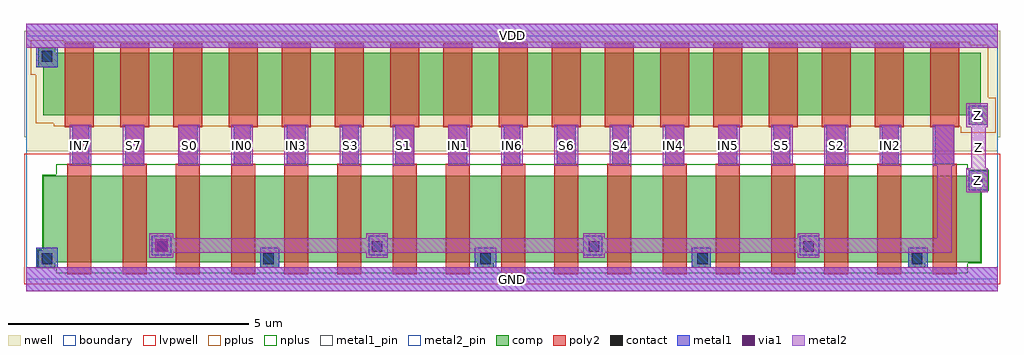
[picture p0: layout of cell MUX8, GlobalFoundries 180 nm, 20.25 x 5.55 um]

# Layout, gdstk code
import gdstk
lib = gdstk.Library(unit=1e-6, precision=1e-09)
def R(c, l, rs):  # rectangles x0, y0, x1, y1
    for r in rs: c.add(gdstk.rectangle(r[:2], r[2:], *l))
def A(c, l, x, y, w, h, nx, ny, dx, dy):  # array of equal rectangles
    R(c, l, [(x+i*dx, y+j*dy, x+i*dx+w, y+j*dy+h) for i in range(nx) for j in range(ny)])
boundary = (0, 0)
nwell = (21, 0)
comp = (22, 0)
poly2 = (30, 0)
pplus = (31, 0)
nplus = (32, 0)
contact = (33, 0)
metal1 = (34, 0)
metal1_pin = (34, 10)
via1 = (35, 0)
metal2 = (36, 0)
metal2_pin = (36, 10)
lvpwell = (204, 0)

mux8 = lib.new_cell('MUX8')
R(mux8, boundary, [(0,0,20.15,5.05)])
R(mux8, nwell, [(0,2.65,20.15,2.95), (-0.05,2.95,20.2,5.15)])
R(mux8, comp, [(0.25,0.25,0.6,0.35), (4.85,0.25,5.25,0.35), (9.35,0.25,9.7,0.35), (13.8,0.25,14.2,0.35), (18.3,0.25,18.65,0.35), (0.25,0.35,19.8,0.6), (0.35,0.6,19.8,1.85), (0.35,1.85,19.95,2.15), (19.55,2.15,19.95,2.25), (19.55,3.2,19.95,3.4), (0.35,3.4,19.95,3.6), (0.35,3.6,19.8,4.4), (0.25,4.4,19.8,4.7), (0.25,4.7,0.6,4.8)])
A(mux8, poly2, 4.25, 0.1, 0.5, 2.3, 3, 1, 1.1, 0)
A(mux8, poly2, 9.85, 0.1, 0.5, 2.3, 3, 1, 1.1, 0)
A(mux8, poly2, 15.45, 0.1, 0.5, 2.3, 3, 1, 1.1, 0)
A(mux8, poly2, 3.15, 2.4, 0.4, 0.75, 3, 1, 2.25, 0)
A(mux8, poly2, 8.75, 2.4, 0.4, 0.75, 3, 1, 2.25, 0)
A(mux8, poly2, 14.35, 2.4, 0.4, 0.75, 3, 1, 2.25, 0)
A(mux8, poly2, 4.2, 3.15, 0.6, 1.75, 3, 1, 1.1, 0)
A(mux8, poly2, 9.8, 3.15, 0.6, 1.75, 3, 1, 1.1, 0)
A(mux8, poly2, 15.4, 3.15, 0.6, 1.75, 3, 1, 1.1, 0)
R(mux8, poly2, [(0.85,0.1,1.35,2.4), (2,0.1,2.5,2.4), (3.1,0.1,3.6,2.4), (7.6,0.1,8.1,2.4), (8.7,0.1,9.2,2.4), (13.2,0.1,13.7,2.4), (14.3,0.1,14.8,2.4), (18.8,0.1,19.3,2.4), (0.95,2.4,1.3,3.15), (2.05,2.4,2.45,3.15), (4.3,2.4,4.65,3.15), (6.55,2.4,6.9,3.15), (9.9,2.4,10.25,3.15), (12.15,2.4,12.5,3.15), (15.5,2.4,15.85,3.15), (17.75,2.4,18.1,3.15), (0.8,3.15,1.4,4.9), (1.95,3.15,2.55,4.9), (3.05,3.15,3.65,4.9), (7.55,3.15,8.15,4.9), (8.65,3.15,9.25,4.9), (13.15,3.15,13.75,4.9), (14.25,3.15,14.85,4.9), (18.75,3.15,19.35,4.9)])
R(mux8, pplus, [(19.39,3.04,20.11,3.17), (0.57,3.17,20.11,3.24), (0.19,3.24,20.11,3.76), (0.19,3.76,19.96,4.24), (0.09,4.24,19.96,4.86), (0.09,4.86,19.58,4.93), (0.09,4.93,0.76,4.96)])
R(mux8, nplus, [(0.62,0.12,19.53,0.23), (0.23,0.23,19.53,0.33), (0.23,0.33,19.82,0.62), (0.33,0.62,19.82,1.83), (0.33,1.83,19.97,2.17), (0.62,2.17,19.97,2.27), (0.62,2.27,19.53,2.38)])
A(mux8, contact, 4.915, 0.315, 0.22, 0.22, 3, 1, 4.5, 0)
R(mux8, contact, [(0.315,0.315,0.535,0.535), (18.365,0.315,18.585,0.535), (2.715,0.565,2.935,0.785), (7.165,0.565,7.385,0.785), (11.665,0.565,11.885,0.785), (16.115,0.565,16.335,0.785), (19.615,1.915,19.835,2.135), (19.615,3.265,19.835,3.485), (0.315,4.515,0.535,4.735)])
A(mux8, metal1, 3.15, 2.4, 0.4, 0.8, 3, 1, 2.25, 0)
A(mux8, metal1, 8.75, 2.4, 0.4, 0.8, 3, 1, 2.25, 0)
A(mux8, metal1, 14.35, 2.4, 0.4, 0.8, 3, 1, 2.25, 0)
R(mux8, metal1, [(0,-0.25,20.15,0.25), (0.2,0.25,0.65,0.65), (4.85,0.25,5.25,0.65), (9.3,0.25,9.75,0.65), (13.8,0.25,14.2,0.65), (18.3,0.25,18.7,0.65), (2.6,0.5,3,0.9), (7.1,0.5,7.5,0.9), (11.55,0.5,11.95,0.9), (16.05,0.5,16.45,0.9), (19.55,1.85,19.95,2.25), (0.95,2.4,1.3,3.2), (2.05,2.4,2.45,3.2), (4.3,2.4,4.65,3.2), (6.55,2.4,6.9,3.2), (9.9,2.4,10.25,3.2), (12.15,2.4,12.5,3.2), (15.5,2.4,15.85,3.2), (17.75,2.4,18.1,3.2), (19.55,3.2,19.95,3.6), (0.2,4.4,0.65,4.8), (0,4.8,20.15,5.3)])
R(mux8, metal1_pin, [(0,-0.25,20.15,0.25), (0,4.8,20.15,5.3)])
R(mux8, via1, [(2.67,0.57,2.93,0.83)])
A(mux8, metal2, 5.35, 2.35, 0.5, 0.85, 3, 1, 5.6, 0)
R(mux8, metal2, [(0,-0.25,20.15,0.25), (2.55,0.45,3.05,0.55), (7.05,0.45,7.5,0.55), (11.55,0.45,12,0.55), (16,0.45,16.45,0.55), (2.55,0.55,19.2,0.85), (2.55,0.85,3.05,0.95), (7.05,0.85,7.5,0.95), (11.55,0.85,12,0.95), (16,0.85,16.45,0.95), (18.9,0.85,19.2,2.35), (19.5,1.8,19.95,2.3), (19.6,2.3,19.9,3.15), (0.9,2.35,1.35,3.2), (2,2.35,2.45,3.2), (3.15,2.35,3.6,3.2), (4.25,2.35,4.7,3.2), (6.5,2.35,6.95,3.2), (7.6,2.35,8.05,3.2), (8.75,2.35,9.2,3.2), (9.85,2.35,10.3,3.2), (12.1,2.35,12.55,3.2), (13.2,2.35,13.65,3.2), (14.35,2.35,14.8,3.2), (15.45,2.35,15.9,3.2), (17.7,2.35,18.15,3.2), (18.8,2.35,19.25,3.2), (19.5,3.15,19.95,3.65), (0,4.8,20.15,5.3)])
A(mux8, metal2_pin, 5.35, 2.35, 0.5, 0.85, 3, 1, 5.6, 0)
R(mux8, metal2_pin, [(19.5,1.8,19.95,2.3), (19.6,2.3,19.9,3.15), (0.9,2.35,1.35,3.2), (2,2.35,2.45,3.2), (3.15,2.35,3.6,3.2), (4.25,2.35,4.7,3.2), (6.5,2.35,6.95,3.2), (7.6,2.35,8.05,3.2), (8.75,2.35,9.2,3.2), (9.85,2.35,10.3,3.2), (12.1,2.35,12.55,3.2), (13.2,2.35,13.65,3.2), (14.35,2.35,14.8,3.2), (15.45,2.35,15.9,3.2), (17.7,2.35,18.15,3.2), (19.5,3.15,19.95,3.65)])
R(mux8, lvpwell, [(-0.05,-0.1,20.2,2.6)])
mux8.add(gdstk.Label('VDD', (10.075,5.05), layer=34, texttype=10))
mux8.add(gdstk.Label('GND', (10.075,0), layer=34, texttype=10))
mux8.add(gdstk.Label('Z', (19.725,2.05), layer=36, texttype=10))
mux8.add(gdstk.Label('Z', (19.75,2.725), layer=36, texttype=10))
mux8.add(gdstk.Label('Z', (19.725,3.4), layer=36, texttype=10))
mux8.add(gdstk.Label('IN4', (13.425,2.775), layer=36, texttype=10))
mux8.add(gdstk.Label('S0', (3.375,2.775), layer=36, texttype=10))
mux8.add(gdstk.Label('IN0', (4.475,2.775), layer=36, texttype=10))
mux8.add(gdstk.Label('S5', (15.675,2.775), layer=36, texttype=10))
mux8.add(gdstk.Label('S7', (2.225,2.775), layer=36, texttype=10))
mux8.add(gdstk.Label('IN5', (14.575,2.775), layer=36, texttype=10))
mux8.add(gdstk.Label('IN1', (8.975,2.775), layer=36, texttype=10))
mux8.add(gdstk.Label('S1', (7.825,2.775), layer=36, texttype=10))
mux8.add(gdstk.Label('S3', (6.725,2.775), layer=36, texttype=10))
mux8.add(gdstk.Label('S6', (11.2,2.775), layer=36, texttype=10))
mux8.add(gdstk.Label('S2', (16.8,2.775), layer=36, texttype=10))
mux8.add(gdstk.Label('IN2', (17.925,2.775), layer=36, texttype=10))
mux8.add(gdstk.Label('IN3', (5.6,2.775), layer=36, texttype=10))
mux8.add(gdstk.Label('IN7', (1.125,2.775), layer=36, texttype=10))
mux8.add(gdstk.Label('S4', (12.325,2.775), layer=36, texttype=10))
mux8.add(gdstk.Label('IN6', (10.075,2.775), layer=36, texttype=10))

lib.write_gds('MUX8.gds')
